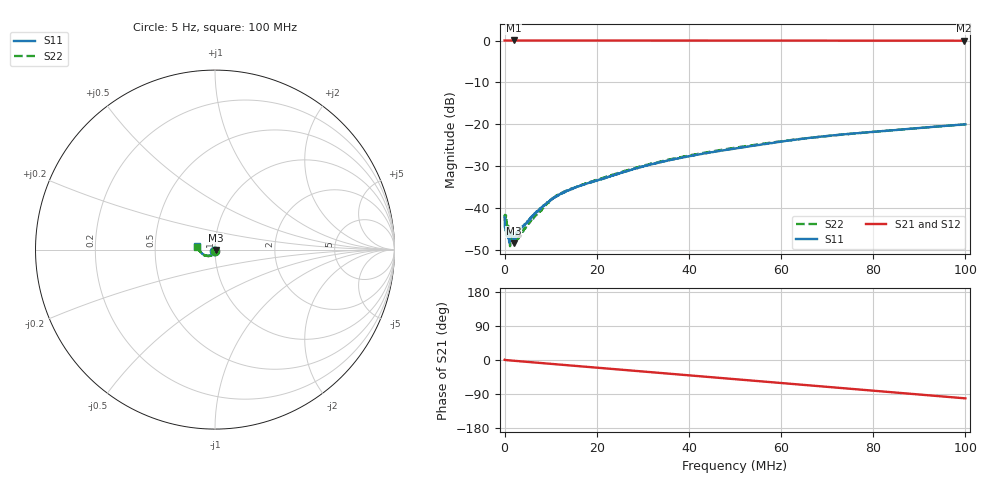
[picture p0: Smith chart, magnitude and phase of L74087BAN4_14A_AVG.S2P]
!Agilent Technologies,E5061B,MY49102235,A.02.00
!Date: Tue Jul 11 16:20:57 2023
!Data & Calibration Information:
!Freq	S11:SOLT2(ON)	S21:SOLT2(ON)	S12:SOLT2(ON)	S22:SOLT2(ON)
# Hz S RI R 50
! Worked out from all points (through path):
!   1600 points, 5 Hz to 100 MHz, reference 50 ohm
!   highest |S21| = 0.02 dB at 1.939 MHz (marker M1); lowest = 0.0 dB at 99.75 MHz (marker M2)
!   group delay of S21, straight-line fit = 2.81 ns
!   lowest |S11| = -48.5 dB at 1.939 MHz (marker M3), VSWR 1.01, Z = 50.3 - j0.205 ohm
!   |S11| at or under -10 dB: start of sweep to end of sweep
!   |S22| runs from -49.2 to -20.1 dB; largest |S21 - S12| = 0.0025
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5  -0.00518 -0.00565  1.001 0.00808  1 0.0102  -0.00146 -0.00753
437778.6  0.00516 -0.000508  1.001 -0.00546  1.001 -0.00614  0.00662 -0.00217
625395.8  0.00509 -0.000555  1.002 -0.0104  1.002 -0.0101  0.00611 -0.000921
938091.3  0.00432 -0.000278  1.001 -0.0151  1.001 -0.0148  0.0059 -0.000851
1500943  0.00435 -0.00228  1.001 -0.0251  1.001 -0.025  0.00302 -0.00343
1938717  0.00314 -0.00204  1.002 -0.0338  1.002 -0.0334  0.00343 -0.00176
2376490  0.00333 -0.00264  0.9998 -0.0415  1 -0.0419  0.00396 -0.00229
3252037  0.00428 -0.00369  0.9993 -0.0572  0.9992 -0.0571  0.00318 -0.0032
6003757  0.00341 -0.00696  0.9953 -0.1056  0.9955 -0.1054  0.00296 -0.00676
9505946  0.00172 -0.0116  0.9869 -0.1672  0.9871 -0.167  0.00106 -0.0116
1.156974e7  0.000353 -0.0142  0.9803 -0.2029  0.98 -0.2028  -0.000606 -0.0143
1.669794e7  -0.00313 -0.0183  0.9573 -0.2907  0.9573 -0.2905  -0.00358 -0.0184
2.582865e7  -0.00942 -0.0249  0.8983 -0.4407  0.8982 -0.4406  -0.00743 -0.0263
3.333334e7  -0.0171 -0.0301  0.8317 -0.5555  0.8317 -0.5553  -0.0159 -0.0313
4.033771e7  -0.0252 -0.0333  0.7565 -0.6536  0.7566 -0.6535  -0.0251 -0.0344
5.003127e7  -0.0376 -0.0346  0.6339 -0.773  0.6338 -0.7729  -0.038 -0.0357
6.672921e7  -0.063 -0.0286  0.3811 -0.9228  0.3813 -0.9229  -0.0624 -0.0292
7.53596e7  -0.0744 -0.0201  0.2365 -0.9692  0.2367 -0.9692  -0.0739 -0.0211
8.33646e7  -0.0833 -0.00907  0.0977 -0.9925  0.0976 -0.9926  -0.083 -0.011
9.155722e7  -0.0914 0.00418  -0.0465 -0.9953  -0.0466 -0.9954  -0.0915 0.00114
9.974984e7  -0.0976 0.0188  -0.1894 -0.9773  -0.1892 -0.9776  -0.0975 0.0161
1e8  -0.0977 0.0192  -0.1937 -0.9767  -0.1937 -0.9768  -0.0979 0.0167
